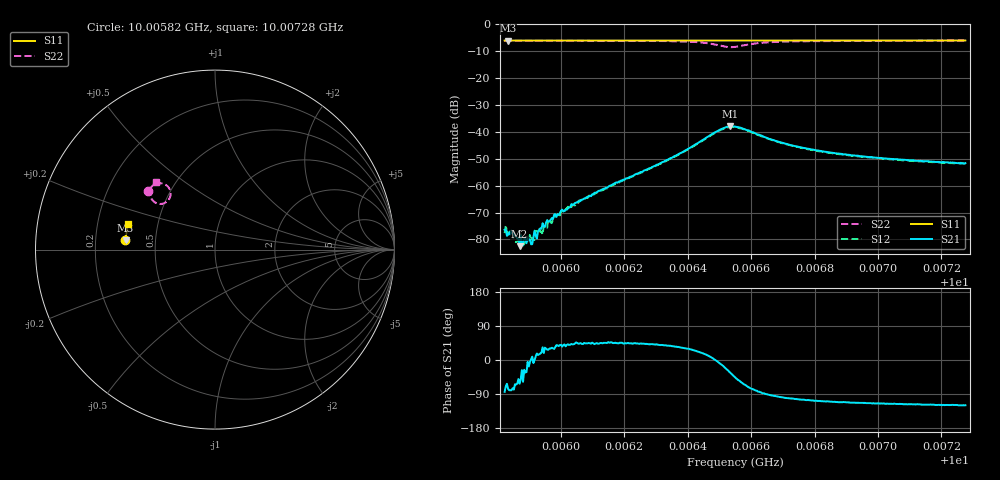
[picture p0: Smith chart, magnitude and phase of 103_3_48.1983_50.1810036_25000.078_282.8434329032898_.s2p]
#  HZ  S  RI  R  50.00
! Rohde & Schwarz Vector Network Analyzer
! Rohde-Schwarz,ZNB20-2Port,1311601062101988,3.16
! Created: UTC 3/20/2024, 11:40:41 AM
! freq[Hz]  re:S11  im:S11  re:S21  im:S21  re:S12  im:S12  re:S22  im:S22
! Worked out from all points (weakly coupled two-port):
!   401 points, 10.00582 GHz to 10.00728 GHz, reference 50 ohm
!   highest |S21| = -37.90 dB at 10.00653 GHz (marker M1); lowest = -82.5 dB at 10.00587 GHz (marker M2)
!   lowest |S11| = -6.0 dB at 10.00583 GHz (marker M3), VSWR 3.01, Z = 16.7 + j2.3 ohm
!   |S11| at or under -10 dB: nowhere
!   |S22| runs from -8.4 to -6.0 dB; largest |S21 - S12| = 0.00097
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1.0005823e10  -0.4987 0.0511  1.54e-05 -0.000151  1.33e-05 -0.00013  -0.3753 0.3269
1.0005834e10  -0.4985 0.0518  2.93e-05 -0.000119  3.61e-05 -0.000111  -0.3749 0.3277
1.0005845e10  -0.4985 0.0526  2.61e-05 -0.000144  4.44e-05 -0.000112  -0.3743 0.3283
1.0005856e10  -0.4984 0.0533  5.1e-05 -0.000105  4.5e-05 -7.92e-05  -0.3738 0.3289
1.000587e10  -0.4984 0.0542  3.46e-05 -6.65e-05  5.76e-05 -7.44e-05  -0.3728 0.33
1.0005885e10  -0.4983 0.0552  9.42e-05 -4.55e-05  6.18e-05 -5.58e-05  -0.3722 0.3309
1.0005903e10  -0.4983 0.0564  0.000101 -9.34e-06  0.000121 -9.7e-06  -0.3712 0.3321
1.000591e10  -0.4981 0.0568  8.09e-05 1.24e-05  0.000107 5.25e-06  -0.3707 0.3326
1.0005928e10  -0.4983 0.0579  0.000139 3.27e-05  0.000137 2.28e-05  -0.3697 0.3336
1.0005936e10  -0.498 0.0585  0.000154 4.71e-05  0.000133 3.75e-05  -0.3692 0.3342
1.0005976e10  -0.4979 0.0611  0.000205 0.000122  0.000213 0.000112  -0.3668 0.3369
1.0005987e10  -0.4977 0.0617  0.000203 0.000166  0.000229 0.000169  -0.3664 0.3376
1.0006066e10  -0.4973 0.067  0.000407 0.00037  0.000378 0.000379  -0.3607 0.3432
1.000631e10  -0.4952 0.0828  0.00195 0.00163  0.00187 0.00167  -0.3329 0.3632
1.0006455e10  -0.4933 0.0923  0.00729 0.00203  0.00701 0.00229  -0.2755 0.3611
1.0006502e10  -0.4924 0.095  0.0109 -0.0018  0.0107 -0.00118  -0.2476 0.3197
1.0006535e10  -0.4919 0.0965  0.0106 -0.00708  0.0106 -0.00622  -0.2622 0.2727
1.0006549e10  -0.4919 0.0971  0.00886 -0.00892  0.00903 -0.00828  -0.281 0.2594
1.0006629e10  -0.4919 0.1021  0.000771 -0.00867  0.00113 -0.00837  -0.3542 0.284
1.0006793e10  -0.4903 0.1127  -0.00134 -0.0045  -0.00116 -0.00446  -0.3576 0.3352
1.0007036e10  -0.4871 0.1285  -0.00137 -0.00288  -0.00121 -0.00285  -0.3424 0.3615
1.0007276e10  -0.4832 0.1434  -0.00129 -0.00229  -0.00116 -0.00231  -0.329 0.3773
